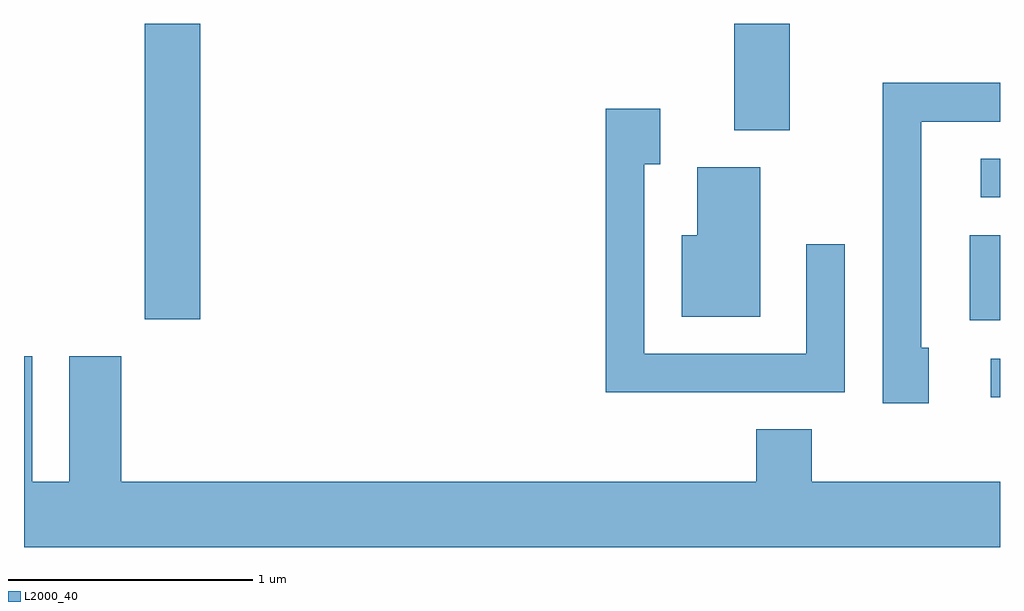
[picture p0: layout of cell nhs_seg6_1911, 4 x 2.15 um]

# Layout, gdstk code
import gdstk
lib = gdstk.Library(unit=1e-6, precision=1e-09)
def R(c, l, rs):  # rectangles x0, y0, x1, y1
    for r in rs: c.add(gdstk.rectangle(r[:2], r[2:], *l))
def P(c, l, *ps):  # polygons
    for p in ps: c.add(gdstk.Polygon(p, *l))
L2000_40 = (2000, 40)

nhs_seg6_1911 = lib.new_cell('nhs_seg6_1911')
R(nhs_seg6_1911, L2000_40, [(247.573,1570.631,247.611,1570.789), (247.486,1570.946,247.611,1571.294), (244.106,1570.951,244.334,1572.162), (247.533,1571.451,247.611,1571.609), (246.521,1571.726,246.749,1572.162)])
P(nhs_seg6_1911, L2000_40, [(247.319,1570.834),(247.289,1570.834),(247.289,1571.761),(247.611,1571.761),(247.611,1571.919),(247.131,1571.919),(247.131,1570.606),(247.319,1570.606)],
  [(246.974,1571.258),(246.816,1571.258),(246.816,1570.809),(246.154,1570.809),(246.154,1571.586),(246.219,1571.586),(246.219,1571.814),(245.996,1571.814),(245.996,1570.651),(246.974,1570.651)],
  [(246.629,1571.574),(246.371,1571.574),(246.371,1571.294),(246.306,1571.294),(246.306,1570.961),(246.629,1570.961)],
  [(247.611,1570.284),(246.839,1570.284),(246.839,1570.499),(246.611,1570.499),(246.611,1570.284),(244.009,1570.284),(244.009,1570.799),(243.796,1570.799),(243.796,1570.284),(243.644,1570.284),(243.644,1570.799),(243.611,1570.799),(243.611,1570.016),(247.611,1570.016)])

lib.write_gds('nhs_seg6_1911.gds')
